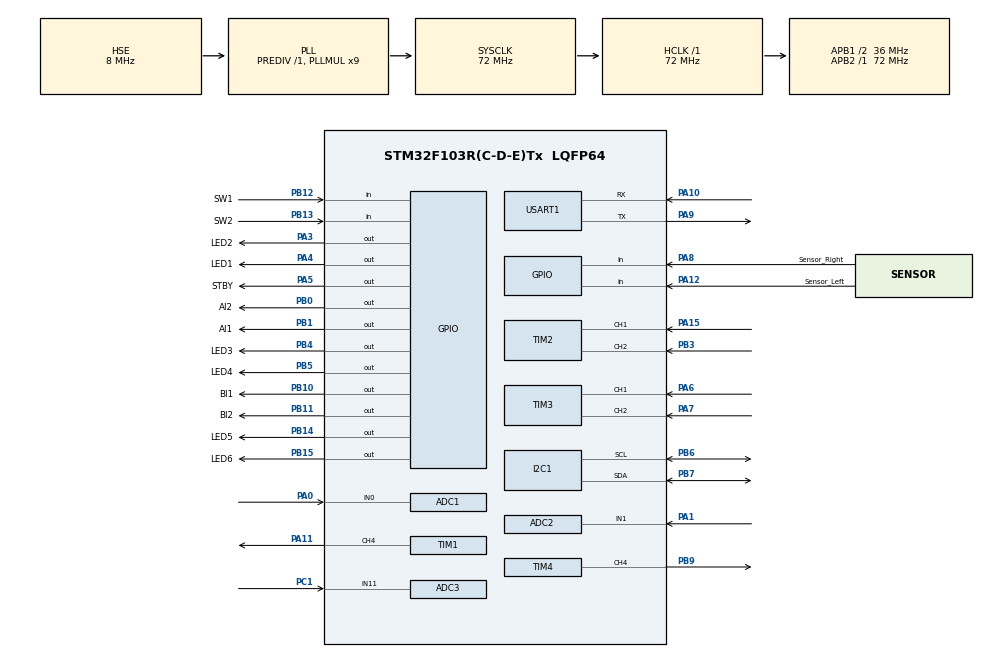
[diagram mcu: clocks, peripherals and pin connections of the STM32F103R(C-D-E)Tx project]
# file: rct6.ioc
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ADC1.Channel-0\#ChannelRegularConversion=ADC_CHANNEL_0
ADC1.NbrOfConversionFlag=1
ADC1.Rank-0\#ChannelRegularConversion=1
ADC1.SamplingTime-0\#ChannelRegularConversion=ADC_SAMPLETIME_239CYCLES_5
ADC1.master=1
ADC2.Channel-0\#ChannelRegularConversion=ADC_CHANNEL_1
ADC2.NbrOfConversionFlag=1
ADC2.Rank-0\#ChannelRegularConversion=1
ADC2.SamplingTime-0\#ChannelRegularConversion=ADC_SAMPLETIME_239CYCLES_5
ADC3.Channel-2\#ChannelRegularConversion=ADC_CHANNEL_11
ADC3.NbrOfConversionFlag=1
ADC3.Rank-2\#ChannelRegularConversion=1
ADC3.SamplingTime-2\#ChannelRegularConversion=ADC_SAMPLETIME_71CYCLES_5
Mcu.Family=STM32F1
Mcu.Name=STM32F103R(C-D-E)Tx
Mcu.Package=LQFP64
NVIC.PriorityGroup=NVIC_PRIORITYGROUP_4
NVIC.TIM2_IRQn=true\:0\:0\:false\:false\:true\:true\:true\:true
NVIC.TIM3_IRQn=true\:0\:0\:false\:false\:true\:true\:true\:true
PA0-WKUP.Signal=ADCx_IN0
PA1.Signal=ADCx_IN1
PA10.Mode=Asynchronous
PA10.Signal=USART1_RX
PA11.Signal=S_TIM1_CH4
PA12.GPIO_Label=Sensor_Left
PA12.GPIO_PuPd=GPIO_PULLUP
PA12.Signal=GPIO_Input
PA13.Mode=Serial_Wire
PA13.Signal=SYS_JTMS-SWDIO
PA14.Mode=Serial_Wire
PA14.Signal=SYS_JTCK-SWCLK
PA15.Signal=S_TIM2_CH1_ETR
PA3.GPIO_Label=LED2
PA3.Signal=GPIO_Output
PA4.GPIO_Label=LED1
PA4.Signal=GPIO_Output
PA5.GPIO_Label=STBY
PA5.Signal=GPIO_Output
PA6.Signal=S_TIM3_CH1
PA7.Signal=S_TIM3_CH2
PA8.GPIO_Label=Sensor_Right
PA8.GPIO_PuPd=GPIO_PULLUP
PA8.Signal=GPIO_Input
PA9.Mode=Asynchronous
PA9.Signal=USART1_TX
PB0.GPIO_Label=AI2
PB0.Signal=GPIO_Output
PB1.GPIO_Label=AI1
PB1.Signal=GPIO_Output
PB10.GPIO_Label=BI1
PB10.Signal=GPIO_Output
PB11.GPIO_Label=BI2
PB11.Signal=GPIO_Output
PB12.GPIO_Label=SW1
PB12.GPIO_PuPd=GPIO_PULLUP
PB12.Signal=GPIO_Input
PB13.GPIO_Label=SW2
PB13.GPIO_PuPd=GPIO_PULLUP
PB13.Signal=GPIO_Input
PB14.GPIO_Label=LED5
PB14.Signal=GPIO_Output
PB15.GPIO_Label=LED6
PB15.Signal=GPIO_Output
PB3.Signal=S_TIM2_CH2
PB4.GPIO_Label=LED3
PB4.Signal=GPIO_Output
PB5.GPIO_Label=LED4
PB5.Signal=GPIO_Output
PB6.Mode=I2C
PB6.Signal=I2C1_SCL
PB7.Mode=I2C
PB7.Signal=I2C1_SDA
PB9.Signal=S_TIM4_CH4
PC1.Signal=ADCx_IN11
PD0-OSC_IN.Mode=HSE-External-Oscillator
PD0-OSC_IN.Signal=RCC_OSC_IN
PD1-OSC_OUT.Mode=HSE-External-Oscillator
PD1-OSC_OUT.Signal=RCC_OSC_OUT
ProjectManager.HeapSize=0x200
ProjectManager.StackSize=0x400
ProjectManager.TargetToolchain=STM32CubeIDE
RCC.AHBFreq_Value=72000000
RCC.APB1CLKDivider=RCC_HCLK_DIV2
RCC.APB1Freq_Value=36000000
RCC.APB1TimFreq_Value=72000000
RCC.APB2Freq_Value=72000000
RCC.APB2TimFreq_Value=72000000
RCC.HCLKFreq_Value=72000000
RCC.PLLMUL=RCC_PLL_MUL9
RCC.PLLSourceVirtual=RCC_PLLSOURCE_HSE
RCC.SYSCLKFreq_VALUE=72000000
RCC.SYSCLKSource=RCC_SYSCLKSOURCE_PLLCLK
RCC.USBFreq_Value=72000000
SH.ADCx_IN0.0=ADC1_IN0,IN0
SH.ADCx_IN1.0=ADC2_IN1,IN1
SH.ADCx_IN11.0=ADC3_IN11,IN11
SH.S_TIM1_CH4.0=TIM1_CH4,PWM Generation4 CH4
SH.S_TIM2_CH1_ETR.0=TIM2_CH1,Encoder_Interface
SH.S_TIM2_CH2.0=TIM2_CH2,Encoder_Interface
SH.S_TIM3_CH1.0=TIM3_CH1,Encoder_Interface
SH.S_TIM3_CH2.0=TIM3_CH2,Encoder_Interface
SH.S_TIM4_CH4.0=TIM4_CH4,PWM Generation4 CH4
TIM1.Channel-PWM\ Generation4\ CH4=TIM_CHANNEL_4
TIM1.Period=10000-1
TIM1.Prescaler=18-1
TIM2.EncoderMode=TIM_ENCODERMODE_TI12
TIM2.IC1Polarity=TIM_ICPOLARITY_FALLING
TIM2.IC2Polarity=TIM_ICPOLARITY_FALLING
TIM3.EncoderMode=TIM_ENCODERMODE_TI12
TIM3.IC1Polarity=TIM_ICPOLARITY_FALLING
TIM3.IC2Polarity=TIM_ICPOLARITY_FALLING
TIM4.Channel-PWM\ Generation4\ CH4=TIM_CHANNEL_4
TIM4.Period=10000-1
TIM4.Prescaler=18-1
USART1.VirtualMode=VM_ASYNC
VP_TIM1_VS_ClockSourceINT.Mode=Internal
VP_TIM4_VS_ClockSourceINT.Mode=Internal
board=custom

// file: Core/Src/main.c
/* USER CODE BEGIN Header */
/**
  ******************************************************************************
  * @file           : main.c
  * @brief          : Main program body
  ******************************************************************************
  * @attention
  *
  * Copyright (c) 2024 STMicroelectronics.
  * All rights reserved.
  *
  * This software is licensed under terms that can be found in the LICENSE file
  * in the root directory of this software component.
  * If no LICENSE file comes with this software, it is provided AS-IS.
  *
  ******************************************************************************
  */
/* USER CODE END Header */
#include "main.h"

/* USER CODE BEGIN Includes */
#include <stdio.h>
#include "MPU6050.h"
#include "math.h"
#include "API.h"

#include "queue.h"
#include "queue_int.h"
#include "stack.h"
/* USER CODE END Includes */

ADC_HandleTypeDef hadc1;
ADC_HandleTypeDef hadc2;
ADC_HandleTypeDef hadc3;

I2C_HandleTypeDef hi2c1;

TIM_HandleTypeDef htim1;
TIM_HandleTypeDef htim2;
TIM_HandleTypeDef htim3;
TIM_HandleTypeDef htim4;

UART_HandleTypeDef huart1;

/* USER CODE BEGIN PV */
double distance_straight = 0;
double distance_left = 0;
double distance_right = 0;

char Buffer[25] = {0};

MPU6050_t MPU6050;

double roll,pitch,yaw, froll, fpitch, fyaw = 0;
uint32_t elapsedTime, currentTime, previousTime;
double dt = 0.001;

uint32_t counterTim2 = 0;
int16_t countTim2 = 0;

uint32_t counterTim3 = 0;
int16_t countTim3 = 0;

uint8_t flag = 0;

const  int rows=16;
const  int cols=16;
const int dx[] = {1, -1, 0, 0};
const int dy[] = {0, 0, -1, 1};

wall_maze maze;
Queue myQueue;
/* USER CODE END PV */

void SystemClock_Config(void);
static void MX_GPIO_Init(void);
static void MX_ADC1_Init(void);
static void MX_I2C1_Init(void);
static void MX_TIM1_Init(void);
static void MX_TIM2_Init(void);
static void MX_TIM3_Init(void);
static void MX_TIM4_Init(void);
static void MX_USART1_UART_Init(void);
static void MX_ADC2_Init(void);
static void MX_ADC3_Init(void);
/* USER CODE BEGIN PFP */
int _write(int file, char *ptr, int len)
{
    HAL_UART_Transmit(&huart1, (uint8_t*)ptr, len, HAL_MAX_DELAY);
    return len;
}

void angle(int goc){
	if(goc > 0){
		while(1){
			previousTime = HAL_GetTick();
			MPU6050_Read_Gyro(&hi2c1, &MPU6050);
			roll += (MPU6050.Gx - froll) *dt;
			pitch += (MPU6050.Gy - fpitch) *dt;
			yaw += (MPU6050.Gz - fyaw) *dt;
			currentTime = HAL_GetTick();
			elapsedTime = currentTime - previousTime;
			dt = ((double) elapsedTime) / 1000;
			if(yaw >= goc){
				roll = 0;
				pitch = 0;
				yaw = 0;
				return;
			}
		}
	}
	else{
		while(1){
			previousTime = HAL_GetTick();
			MPU6050_Read_Gyro(&hi2c1, &MPU6050);
			roll += (MPU6050.Gx - froll) *dt;
			pitch += (MPU6050.Gy - fpitch) *dt;
			yaw += (MPU6050.Gz - fyaw) *dt;
			currentTime = HAL_GetTick();
			elapsedTime = currentTime - previousTime;
			dt = ((double) elapsedTime) / 1000;
			if(yaw <= goc){
				roll = 0;
				pitch = 0;
				yaw = 0;
				return;
			}
		}
	}
}
double distanceLeft(){
	uint16_t ADC_VAL;
	double vol = 0;
	uint16_t total = 0;
  	for (uint8_t i = 0; i < 5; i++){
  	  	HAL_ADC_Start(&hadc3);
  	  	HAL_ADC_PollForConversion(&hadc3, 1000);
  	  	ADC_VAL = HAL_ADC_GetValue(&hadc3);
  	  	HAL_ADC_Stop(&hadc3);
  	    total = total + ADC_VAL;
  	}

  	vol = (total/5*3.3)/4095;
  	return 13 * pow(vol, -1) - 0.7;
}
double distanceStraight(){
	uint16_t ADC_VAL;
	double vol = 0;
	uint16_t total = 0;
  	for (uint8_t i = 0; i < 5; i++){
  	  	HAL_ADC_Start(&hadc2);
  	  	HAL_ADC_PollForConversion(&hadc2, 1000);
  	  	ADC_VAL = HAL_ADC_GetValue(&hadc2);
  	  	HAL_ADC_Stop(&hadc2);
  	    total = total + ADC_VAL;
  	}

  	vol = (total/5*3.3)/4095;
  	return 13 * pow(vol, -1)- 0.7;
}
double distanceRight(){

	uint16_t ADC_VAL;
	double vol = 0;
	uint16_t total = 0;
  	for (uint8_t i = 0; i < 5; i++){
  		HAL_ADC_Start(&hadc1);
  	  	HAL_ADC_PollForConversion(&hadc1, 1000);
  	  	ADC_VAL = HAL_ADC_GetValue(&hadc1);
  	    total = total + ADC_VAL;
  	    HAL_ADC_Stop(&hadc1);
  	}
  	vol = (total/5*3.3)/4095;
  	return 13 * pow(vol, -1) - 0.7;
}
void filter_gyro(){
	printf("Start probe filter\r\n");
	HAL_Delay(500);
	for(uint8_t x = 0; x < 10; x++){
		printf("*");
	    HAL_Delay(100);
	}
	printf("*\r\n");
	for(int x = 0; x < 1000; x++){
		MPU6050_Read_Gyro(&hi2c1, &MPU6050);
		froll += MPU6050.Gx;
		fpitch += MPU6050.Gy;
		fyaw += MPU6050.Gz;
	}
	froll = froll / 1000;
	fpitch = fpitch /1000;
	fyaw = fyaw/1000;
	printf("froll: %.2f fpitch: %.2f fyaw: %.2f\r\n",froll, fpitch, fyaw);
	printf("Prove filter done!\r\n");

}

bool isValid(int x, int y) {
    return (x >= 0 && x < rows && y >= 0 && y < cols);
}
void init_arr(int arr[ROW][COL], int row, int col) {
    for (int i = 0; i < row; i++) {
        for (int j = 0; j < col; j++) {
            arr[i][j] = -1;
        }
    }
}
void check_and_fill(int arr[ROW][COL],int row,int col,int value)
{
    if(row<0 ||col<0||row>=16||col>=16||arr[row][col]!=-1)return;
    value+=1;
    coord point={row,col,value};
    pushQueue(&myQueue,point);
    arr[row][col]=value;
}

void init_flood(int arr[ROW][COL],int row,int col)
{
    int count_=0;
    coord point={row,col,count_};
    pushQueue(&myQueue,point);
    arr[row][col]=0;
    coord point2={row+1,col,count_};
    pushQueue(&myQueue,point2);
    arr[row+1][col]=0;
    coord point3={row,col+1,count_};
    pushQueue(&myQueue,point3);
    arr[row][col+1]=0;
    coord point4={row+1,col+1,count_};
    pushQueue(&myQueue,point4);
    arr[row+1][col+1]=0;
    while (!isEmptyQueue(&myQueue)) {
        coord frontCoord = peekQueue(&myQueue);
        popQueue(&myQueue);
        check_and_fill(arr,frontCoord.row+1,frontCoord.col,frontCoord.value);
        check_and_fill(arr,frontCoord.row-1,frontCoord.col,frontCoord.value);
        check_and_fill(arr,frontCoord.row,frontCoord.col+1,frontCoord.value);
        check_and_fill(arr,frontCoord.row,frontCoord.col-1,frontCoord.value);
    }
}

void init_maze()
{
    for(int i =0;i<16;i++)
    {
        for(int j=0;j<16;j++)
        {
            maze.cells[i][j].visited=0;
            maze.cells[i][j].angle_update=90;
            maze.cells[i][j].dead=0;
            for(int k = 0 ;k<4;k++)maze.cells[i][j].walls[k]=0;
        }
    }
}

void intToStr(int num, char *str) {
    sprintf(str, "%d", num);
}
cell_info cell_direction_adjust(cell_info cell)
{
    cell_info cell_new;
    cell_new=cell;

    for(int i=0;i<4;i++)
    {
        int ind = i;

        switch(cell.angle_update)
        {
            case 90:
                break;
            case 270:
                if(i%2==0)ind+=1;
                else ind-=1;
                break;
            case 0:
                if(i==0 || i ==1)ind+=2;
                else if(i==2)ind=1;
                else ind=0;
                break;
            case 180:
                if(i==2 || i ==3)ind-=2;
                else if(i==0)ind=3;
                else ind=2;
                break;
        }
        cell_new.walls[i]=cell.walls[ind];
    }
    return cell_new;
}

cell_info update_walls(int angle_now,int row,int col)
{
    cell_info new_cell;
    new_cell.angle_update=angle_now;
    double straight = distanceStraight();
    bool boolfront = 0;
    bool boolleft = 0;
    bool boolright = 0;

	if(HAL_GPIO_ReadPin(Sensor_Left_GPIO_Port, Sensor_Left_Pin) == 0){
		boolleft = 1;

	}
	if(HAL_GPIO_ReadPin(Sensor_Right_GPIO_Port, Sensor_Right_Pin) == 0){
		boolright = 1;
	}

    if(straight < 10){
    	boolfront = 1;
    }

    new_cell.walls[UP]=boolfront;
    new_cell.walls[DOWN]=0;
    new_cell.walls[LEFT]=boolleft;
    new_cell.walls[RIGHT]=boolright;
    new_cell.dead=0;
    new_cell.visited=1;
    maze.cells[row][col]=cell_direction_adjust(new_cell);
    if(new_cell.walls[UP]==1&&new_cell.walls[LEFT]==1&&new_cell.walls[RIGHT]==1&&row!=0&&col!=0)
    {
        maze.cells[row][col].dead=1;
    }
    for(int i=0;i<4;i++)
    {
        int newRow=row+dy[i];
        int newCol=col+dx[i];
        if(isValid(newRow,newCol))
        {
            if(i==UP)maze.cells[newRow][newCol].walls[DOWN]=maze.cells[row][col].walls[UP];
            else if(i==LEFT)maze.cells[newRow][newCol].walls[RIGHT]=maze.cells[row][col].walls[LEFT];
            else if(i==RIGHT)maze.cells[newRow][newCol].walls[LEFT]=maze.cells[row][col].walls[RIGHT];
        }
    }
    return new_cell;
}
void go_to_cell(int *angle_now,int dir)
{
    switch(dir)
            {
                case -1:
                    break;
                case UP:
                    API_moveForward();
                    break;
                case DOWN:
                    *angle_now-=180;
                    API_turnRight();
                    API_turnRight();
                    API_moveForward();
                    break;
                case LEFT:
                    *angle_now+=90;
                    API_turnLeft();
                    API_moveForward();
                    break;
                case RIGHT:
                    *angle_now-=90;
                    API_turnRight();
                    API_moveForward();
                    break;
                default:
                    break;
            }
            *angle_now = *angle_now % 360;
            // �?ảm bảo góc không bị âm
            if (*angle_now < 0) {
                *angle_now += 360;
            }
}
bool check_wall_angle(cell_info cell,int *dir)
{
    switch(cell.angle_update)
    {
        case 90:
            break;
        case 270:
            if(*dir%2==0)*dir+=1;
            else *dir-=1;
            break;
        case 0:
            if(*dir==0 || *dir ==1)*dir+=2;
            else if(*dir==2)*dir=1;
            else *dir=0;
            break;
        case 180:
             if(*dir==2 || *dir ==3)*dir-=2;
            else if(*dir==0)*dir=3;
            else *dir=2;
            break;
    }
    return cell.walls[*dir];
}
coord get_min_neighbour(cell_info cell_wall,coord cur, int (*arr)[ROW][COL],bool change_)
{
    int min_neightbor=255;
    coord next_step;
    next_step.value=-1;
    int ind;
    for (int dir = 0; dir < 4; ++dir) {
        int newRow = cur.row + dy[dir]; // 0 0 -1 1
        int newCol = cur.col + dx[dir]; //1 -1 0 0
        ind=dir;
        bool check_=cell_wall.walls[dir];
        if(change_)check_=check_wall_angle(cell_wall,&ind);

        if(isValid(newRow,newCol) && !check_)
        {
            if((*arr)[newRow][newCol]<=min_neightbor)
            {
                min_neightbor=(*arr)[newRow][newCol];
                next_step.row=newRow;
                next_step.col=newCol;
                next_step.value=ind;
            }
        }
    }
    return next_step;
}
void flood(Stack *stack_flood,int (*arr)[ROW][COL])
{
    // log_out("flood");
    coord cur_stack;
    coord next_step;

    while(!isEmptyStack(stack_flood))
    {

        cur_stack=peekStack(stack_flood);
        popStack(stack_flood);
        int min_neightbor=255;
        bool check_;

        next_step=get_min_neighbour(maze.cells[cur_stack.row][cur_stack.col],cur_stack,arr,0);

        min_neightbor=(*arr)[next_step.row][next_step.col];
        if((*arr)[cur_stack.row][cur_stack.col]-1 != min_neightbor )
        {
            for(int i =0 ;i<4;i++)
            {
                coord cur_add;
                cur_add.row= cur_stack.row + dy[i]; // 0 0 -1 1
                cur_add.col= cur_stack.col + dx[i]; //1 -1 0 0
                check_=maze.cells[cur_stack.row][cur_stack.col].walls[i];
                if(isValid(cur_add.row,cur_add.col) &&(*arr)[cur_add.row][cur_add.col]!=0&&!check_)
                {
                    pushStack(stack_flood,cur_add);
                }
            }
            if((*arr)[cur_stack.row][cur_stack.col]!=0)(*arr)[cur_stack.row][cur_stack.col]=min_neightbor+1;
        }
        int stack_size=sizeStack(stack_flood);
        if(stack_size>=35){
            for(int i=0;i<stack_size;i++)
            {
                popStack(stack_flood);
            }
            return;
        }
    }
}
coord floodfill(coord start,coord dest,int (*arr)[ROW][COL],int *angle_now)
{
    Queue path_queue;
    initializeQueue(&path_queue);

    pushQueue(&path_queue,start);
    coord cur=start;
    cell_info new_cell;

    Stack stack_flood;
    initializeStack(&stack_flood);

    pushStack(&stack_flood,start);

    int path_distance_value_find=0;
    // int save_row,save_col;
    coord next_step;

    while(1)
    {
        if(!isEmptyQueue(&path_queue)) // dua ra quyet dinh va go
        {
            cur = peekQueue(&path_queue);

            new_cell=update_walls(*angle_now,cur.row,cur.col);

            if((*arr)[cur.row][cur.col]==(*arr)[dest.row][dest.col]){
                break;
            }
            flood(&stack_flood,arr);
            popQueue(&path_queue);
            next_step=get_min_neighbour(new_cell,cur,arr,1);
            pushQueue(&path_queue,next_step);
            pushStack(&stack_flood,next_step);
            go_to_cell(angle_now,next_step.value);
            path_distance_value_find++;
        }
        else{
            break;
        }
    }

    while(!isEmptyQueue(&path_queue)) popQueue(&path_queue);

    coord p_return={next_step.row,next_step.col,0};
    return p_return;
}
void init_flood_start(int (*arr)[ROW][COL],int row_,int col_,int back_)
{
    int count_=0;
    for(int i=0;i<16;i++)
    {
        for(int j = 0 ;j<16;j++)
        {
            (*arr)[i][j]=-1;
            if(back_==2&&maze.cells[i][j].visited==false){
                (*arr)[i][j]=255;
                maze.cells[i][j].dead=true;
            }
        }
    }
    if(back_!=1)
    {
        coord point2={row_+1,col_,count_};
        pushQueue(&myQueue,point2);
        (*arr)[row_+1][col_]=0;
        coord point3={row_,col_+1,count_};
        pushQueue(&myQueue,point3);
        (*arr)[row_][col_+1]=0;
        coord point4={row_+1,col_+1,count_};
        pushQueue(&myQueue,point4);
        (*arr)[row_+1][col_+1]=0;
    }
    coord point={row_,col_,count_};
    pushQueue(&myQueue,point);
    (*arr)[row_][col_]=0;
    while(!isEmptyQueue(&myQueue))
    {
        coord frontCoord = peekQueue(&myQueue);
        popQueue(&myQueue);
          for (int i = 0; i < 4; ++i) {
                int newRow = frontCoord.row + dy[i]; // 0 0 -1 1
                int newCol = frontCoord.col + dx[i]; //1 -1 0 0
                bool check_=maze.cells[frontCoord.row][frontCoord.col].walls[i];
                if(!check_)check_and_fill(*arr,newRow,newCol,frontCoord.value);
          }
          if(sizeQueue(&myQueue)>120){
            break;
          }
    }
}

void shorted_path_go(int (*arr)[ROW][COL],int angle_now,coord start,coord dest)
{
    QueueInt next_dir_path;
    initializeQueueInt(&next_dir_path);

    int save_row,save_col;
    coord cur=start;
    for(int i=0;i<(*arr)[start.row][start.col];i++)
    {
            int next_dir=-1;
            int newRow;
            int newCol;
            for (int dir = 0; dir < 4; ++dir) {
                newRow = cur.row + dy[dir]; // 0 0 -1 1
                newCol = cur.col + dx[dir]; //1 -1 0 0
                bool check_=maze.cells[cur.row][cur.col].walls[dir];
                if(isValid(newRow,newCol) && !check_)
                {
                    if((*arr)[newRow][newCol]<(*arr)[cur.row][cur.col])
                    {
                        next_dir=dir;
                        save_row=newRow;
                        save_col=newCol;
                    }
                }
            }
            if(next_dir!=-1)
            {
                cur.row=save_row;
                cur.col=save_col;
                pushQueueInt(&next_dir_path,next_dir);
                char value[20];
                intToStr((*arr)[save_row][save_col], value);

            }
    }
}

void HAL_TIM_IC_CaptureCallback(TIM_HandleTypeDef *htim)
{
    if (htim->Instance == TIM2)
    {
        counterTim2 = __HAL_TIM_GET_COUNTER(htim);
        countTim2 = (int16_t)counterTim2;
    }
    else if (htim->Instance == TIM3)
    {
        counterTim3 = __HAL_TIM_GET_COUNTER(htim);
        countTim3 = (int16_t)counterTim3;
    }
}

uint16_t ADC_VALUE[3];
/* USER CODE END PFP */

int main(void)
{

  /* MCU Configuration--------------------------------------------------------*/

  /* Reset of all peripherals, Initializes the Flash interface and the Systick. */
  HAL_Init();

  /* Configure the system clock */
  SystemClock_Config();

  /* Initialize all configured peripherals */
  MX_GPIO_Init();
  MX_ADC1_Init();
  MX_I2C1_Init();
  MX_TIM1_Init();
  MX_TIM2_Init();
  MX_TIM3_Init();
  MX_TIM4_Init();
  MX_USART1_UART_Init();
  MX_ADC2_Init();
  MX_ADC3_Init();
  /* USER CODE BEGIN 2 */
  HAL_TIM_Encoder_Start_IT(&htim2, TIM_CHANNEL_ALL);
  HAL_TIM_Encoder_Start_IT(&htim3, TIM_CHANNEL_ALL);

  HAL_TIM_PWM_Start(&htim1, TIM_CHANNEL_4);
  HAL_TIM_PWM_Start(&htim4, TIM_CHANNEL_4);

//  while (1)
//  {
//		HAL_ADC_Start(&hadc1);
//	  	HAL_ADC_PollForConversion(&hadc1, 1000);
//	  	ADC_VALUE[0] = HAL_ADC_GetValue(&hadc1);
//	    HAL_ADC_Stop(&hadc1);
//
//		HAL_ADC_Start(&hadc2);
//	  	HAL_ADC_PollForConversion(&hadc2, 1000);
//	  	ADC_VALUE[1] = HAL_ADC_GetValue(&hadc2);
//	    HAL_ADC_Stop(&hadc2);
//
//		HAL_ADC_Start(&hadc3);
//	  	HAL_ADC_PollForConversion(&hadc3, 1000);
//	  	ADC_VALUE[2] = HAL_ADC_GetValue(&hadc3);
//	    HAL_ADC_Stop(&hadc3);
//  }

//    while(1){
//  	  distance_straight = distanceStraight();
//  	  distance_left = distanceLeft();
//  	  distance_right = distanceRight();
//    }

//  while(1){
//	  distance_straight = distanceStraight();
//	  if(HAL_GPIO_ReadPin(Sensor_Left_GPIO_Port, Sensor_Left_Pin) == 0){
//			HAL_GPIO_TogglePin(LED5_GPIO_Port, LED5_Pin);
//
//	  }
//	  if(HAL_GPIO_ReadPin(Sensor_Right_GPIO_Port, Sensor_Right_Pin) == 0){
//		  HAL_GPIO_TogglePin(LED3_GPIO_Port, LED3_Pin);
//	  }
//
//  }
//  while(1){
//	  	if(HAL_GPIO_ReadPin(Sensor_Left_GPIO_Port, Sensor_Left_Pin) == 0){
//			timer_Left(10);
//			HAL_GPIO_TogglePin(LED5_GPIO_Port, LED5_Pin);
//			HAL_GPIO_WritePin(LED1_GPIO_Port, LED1_Pin, RESET);
//			HAL_GPIO_WritePin(LED3_GPIO_Port, LED3_Pin, RESET);
//		}
//		else if(HAL_GPIO_ReadPin(Sensor_Right_GPIO_Port, Sensor_Right_Pin) == 0){
//			timer_Right(10);
//			HAL_GPIO_TogglePin(LED3_GPIO_Port, LED3_Pin);
//			HAL_GPIO_WritePin(LED5_GPIO_Port, LED5_Pin, RESET);
//			HAL_GPIO_WritePin(LED1_GPIO_Port, LED1_Pin, RESET);
//		}
//  }

//  API_moveForward();
//	forwardGPIO();
//	__HAL_TIM_SET_COMPARE(&htim1, TIM_CHANNEL_4, 10000); //left motor
//	__HAL_TIM_SET_COMPARE(&htim4, TIM_CHANNEL_4, 10500); //right motor
//	HAL_Delay(1000);
//	stop();
//	  while(1);

//  API_moveForward();
//  while(1);

  while (MPU6050_Init(&hi2c1) == 1);
  filter_gyro();
//  while(1){
//		previousTime = HAL_GetTick();
//		MPU6050_Read_Gyro(&hi2c1, &MPU6050);
//		roll += (MPU6050.Gx - froll) *dt;
//		pitch += (MPU6050.Gy - fpitch) *dt;
//		yaw += (MPU6050.Gz - fyaw) *dt;
//		currentTime = HAL_GetTick();
//		elapsedTime = currentTime - previousTime;
//		dt = ((double) elapsedTime) / 1000;
//  }

  initializeQueue(&myQueue);
  int arr[ROW][COL];

  init_arr(arr,ROW,COL);
  init_flood(arr,7,7);
  init_maze();

  /* USER CODE END 2 */

  /* Infinite loop */
  /* USER CODE BEGIN WHILE */

  coord start={0,0,arr[0][0]};
  coord dest={7,7,arr[7][7]};
  int angle_now=90;
  coord new_coord;
  new_coord = floodfill(start,dest,&arr,&angle_now);

  init_flood_start(&arr,0,0,1);
  new_coord=floodfill(new_coord,start,&arr,&angle_now);
  init_flood_start(&arr,7,7,2);
  shorted_path_go(&arr,angle_now,new_coord,dest);
  floodfill(start,dest,&arr,&angle_now);

  /* USER CODE END 2 */

  /* Infinite loop */
  /* USER CODE BEGIN WHILE */
  while (1)
  {
    /* USER CODE END WHILE */

  }
}

void SystemClock_Config(void)
{
  RCC_OscInitTypeDef RCC_OscInitStruct = {0};
  RCC_ClkInitTypeDef RCC_ClkInitStruct = {0};
  RCC_PeriphCLKInitTypeDef PeriphClkInit = {0};

  /** Initializes the RCC Oscillators according to the specified parameters
  * in the RCC_OscInitTypeDef structure.
  */
  RCC_OscInitStruct.OscillatorType = RCC_OSCILLATORTYPE_HSE;
  RCC_OscInitStruct.HSEState = RCC_HSE_ON;
  RCC_OscInitStruct.HSEPredivValue = RCC_HSE_PREDIV_DIV1;
  RCC_OscInitStruct.HSIState = RCC_HSI_ON;
  RCC_OscInitStruct.PLL.PLLState = RCC_PLL_ON;
  RCC_OscInitStruct.PLL.PLLSource = RCC_PLLSOURCE_HSE;
  RCC_OscInitStruct.PLL.PLLMUL = RCC_PLL_MUL9;
  if (HAL_RCC_OscConfig(&RCC_OscInitStruct) != HAL_OK)
  {
    Error_Handler();
  }

  /** Initializes the CPU, AHB and APB buses clocks
  */
  RCC_ClkInitStruct.ClockType = RCC_CLOCKTYPE_HCLK|RCC_CLOCKTYPE_SYSCLK
                              |RCC_CLOCKTYPE_PCLK1|RCC_CLOCKTYPE_PCLK2;
  RCC_ClkInitStruct.SYSCLKSource = RCC_SYSCLKSOURCE_PLLCLK;
  RCC_ClkInitStruct.AHBCLKDivider = RCC_SYSCLK_DIV1;
  RCC_ClkInitStruct.APB1CLKDivider = RCC_HCLK_DIV2;
  RCC_ClkInitStruct.APB2CLKDivider = RCC_HCLK_DIV1;

  if (HAL_RCC_ClockConfig(&RCC_ClkInitStruct, FLASH_LATENCY_2) != HAL_OK)
  {
    Error_Handler();
  }
  PeriphClkInit.PeriphClockSelection = RCC_PERIPHCLK_ADC;
  PeriphClkInit.AdcClockSelection = RCC_ADCPCLK2_DIV2;
  if (HAL_RCCEx_PeriphCLKConfig(&PeriphClkInit) != HAL_OK)
  {
    Error_Handler();
  }
}

static void MX_ADC1_Init(void)
{

  ADC_ChannelConfTypeDef sConfig = {0};

  /** Common config
  */
  hadc1.Instance = ADC1;
  hadc1.Init.ScanConvMode = ADC_SCAN_DISABLE;
  hadc1.Init.ContinuousConvMode = DISABLE;
  hadc1.Init.DiscontinuousConvMode = DISABLE;
  hadc1.Init.ExternalTrigConv = ADC_SOFTWARE_START;
  hadc1.Init.DataAlign = ADC_DATAALIGN_RIGHT;
  hadc1.Init.NbrOfConversion = 1;
  if (HAL_ADC_Init(&hadc1) != HAL_OK)
  {
    Error_Handler();
  }

  /** Configure Regular Channel
  */
  sConfig.Channel = ADC_CHANNEL_0;
  sConfig.Rank = ADC_REGULAR_RANK_1;
  sConfig.SamplingTime = ADC_SAMPLETIME_239CYCLES_5;
  if (HAL_ADC_ConfigChannel(&hadc1, &sConfig) != HAL_OK)
  {
    Error_Handler();
  }

}

static void MX_ADC2_Init(void)
{

  ADC_ChannelConfTypeDef sConfig = {0};

  /** Common config
  */
  hadc2.Instance = ADC2;
  hadc2.Init.ScanConvMode = ADC_SCAN_DISABLE;
  hadc2.Init.ContinuousConvMode = DISABLE;
  hadc2.Init.DiscontinuousConvMode = DISABLE;
  hadc2.Init.ExternalTrigConv = ADC_SOFTWARE_START;
  hadc2.Init.DataAlign = ADC_DATAALIGN_RIGHT;
  hadc2.Init.NbrOfConversion = 1;
  if (HAL_ADC_Init(&hadc2) != HAL_OK)
  {
    Error_Handler();
  }

  /** Configure Regular Channel
  */
  sConfig.Channel = ADC_CHANNEL_1;
  sConfig.Rank = ADC_REGULAR_RANK_1;
  sConfig.SamplingTime = ADC_SAMPLETIME_239CYCLES_5;
  if (HAL_ADC_ConfigChannel(&hadc2, &sConfig) != HAL_OK)
  {
    Error_Handler();
  }

}

static void MX_ADC3_Init(void)
{

  ADC_ChannelConfTypeDef sConfig = {0};

  /** Common config
  */
  hadc3.Instance = ADC3;
  hadc3.Init.ScanConvMode = ADC_SCAN_DISABLE;
  hadc3.Init.ContinuousConvMode = DISABLE;
  hadc3.Init.DiscontinuousConvMode = DISABLE;
  hadc3.Init.ExternalTrigConv = ADC_SOFTWARE_START;
  hadc3.Init.DataAlign = ADC_DATAALIGN_RIGHT;
  hadc3.Init.NbrOfConversion = 1;
  if (HAL_ADC_Init(&hadc3) != HAL_OK)
  {
    Error_Handler();
  }

  /** Configure Regular Channel
  */
  sConfig.Channel = ADC_CHANNEL_11;
  sConfig.Rank = ADC_REGULAR_RANK_1;
  sConfig.SamplingTime = ADC_SAMPLETIME_71CYCLES_5;
  if (HAL_ADC_ConfigChannel(&hadc3, &sConfig) != HAL_OK)
  {
    Error_Handler();
  }

}

static void MX_I2C1_Init(void)
{

  hi2c1.Instance = I2C1;
  hi2c1.Init.ClockSpeed = 100000;
  hi2c1.Init.DutyCycle = I2C_DUTYCYCLE_2;
  hi2c1.Init.OwnAddress1 = 0;
  hi2c1.Init.AddressingMode = I2C_ADDRESSINGMODE_7BIT;
  hi2c1.Init.DualAddressMode = I2C_DUALADDRESS_DISABLE;
  hi2c1.Init.OwnAddress2 = 0;
  hi2c1.Init.GeneralCallMode = I2C_GENERALCALL_DISABLE;
  hi2c1.Init.NoStretchMode = I2C_NOSTRETCH_DISABLE;
  if (HAL_I2C_Init(&hi2c1) != HAL_OK)
  {
    Error_Handler();
  }

}

static void MX_TIM1_Init(void)
{

  TIM_ClockConfigTypeDef sClockSourceConfig = {0};
  TIM_MasterConfigTypeDef sMasterConfig = {0};
  TIM_OC_InitTypeDef sConfigOC = {0};
  TIM_BreakDeadTimeConfigTypeDef sBreakDeadTimeConfig = {0};

  htim1.Instance = TIM1;
  htim1.Init.Prescaler = 18-1;
  htim1.Init.CounterMode = TIM_COUNTERMODE_UP;
  htim1.Init.Period = 10000-1;
  htim1.Init.ClockDivision = TIM_CLOCKDIVISION_DIV1;
  htim1.Init.RepetitionCounter = 0;
  htim1.Init.AutoReloadPreload = TIM_AUTORELOAD_PRELOAD_DISABLE;
  if (HAL_TIM_Base_Init(&htim1) != HAL_OK)
  {
    Error_Handler();
  }
  sClockSourceConfig.ClockSource = TIM_CLOCKSOURCE_INTERNAL;
  if (HAL_TIM_ConfigClockSource(&htim1, &sClockSourceConfig) != HAL_OK)
  {
    Error_Handler();
  }
  if (HAL_TIM_PWM_Init(&htim1) != HAL_OK)
  {
    Error_Handler();
  }
  sMasterConfig.MasterOutputTrigger = TIM_TRGO_RESET;
  sMasterConfig.MasterSlaveMode = TIM_MASTERSLAVEMODE_DISABLE;
  if (HAL_TIMEx_MasterConfigSynchronization(&htim1, &sMasterConfig) != HAL_OK)
  {
    Error_Handler();
  }
  sConfigOC.OCMode = TIM_OCMODE_PWM1;
  sConfigOC.Pulse = 0;
  sConfigOC.OCPolarity = TIM_OCPOLARITY_HIGH;
  sConfigOC.OCFastMode = TIM_OCFAST_DISABLE;
  sConfigOC.OCIdleState = TIM_OCIDLESTATE_RESET;
  sConfigOC.OCNIdleState = TIM_OCNIDLESTATE_RESET;
  if (HAL_TIM_PWM_ConfigChannel(&htim1, &sConfigOC, TIM_CHANNEL_4) != HAL_OK)
  {
    Error_Handler();
  }
  sBreakDeadTimeConfig.OffStateRunMode = TIM_OSSR_DISABLE;
  sBreakDeadTimeConfig.OffStateIDLEMode = TIM_OSSI_DISABLE;
  sBreakDeadTimeConfig.LockLevel = TIM_LOCKLEVEL_OFF;
  sBreakDeadTimeConfig.DeadTime = 0;
  sBreakDeadTimeConfig.BreakState = TIM_BREAK_DISABLE;
  sBreakDeadTimeConfig.BreakPolarity = TIM_BREAKPOLARITY_HIGH;
  sBreakDeadTimeConfig.AutomaticOutput = TIM_AUTOMATICOUTPUT_DISABLE;
  if (HAL_TIMEx_ConfigBreakDeadTime(&htim1, &sBreakDeadTimeConfig) != HAL_OK)
  {
    Error_Handler();
  }
  HAL_TIM_MspPostInit(&htim1);

}

static void MX_TIM2_Init(void)
{

  TIM_Encoder_InitTypeDef sConfig = {0};
  TIM_MasterConfigTypeDef sMasterConfig = {0};

  htim2.Instance = TIM2;
  htim2.Init.Prescaler = 0;
  htim2.Init.CounterMode = TIM_COUNTERMODE_UP;
  htim2.Init.Period = 65535;
  htim2.Init.ClockDivision = TIM_CLOCKDIVISION_DIV1;
  htim2.Init.AutoReloadPreload = TIM_AUTORELOAD_PRELOAD_DISABLE;
  sConfig.EncoderMode = TIM_ENCODERMODE_TI12;
  sConfig.IC1Polarity = TIM_ICPOLARITY_FALLING;
  sConfig.IC1Selection = TIM_ICSELECTION_DIRECTTI;
  sConfig.IC1Prescaler = TIM_ICPSC_DIV1;
  sConfig.IC1Filter = 0;
  sConfig.IC2Polarity = TIM_ICPOLARITY_FALLING;
  sConfig.IC2Selection = TIM_ICSELECTION_DIRECTTI;
  sConfig.IC2Prescaler = TIM_ICPSC_DIV1;
  sConfig.IC2Filter = 0;
  if (HAL_TIM_Encoder_Init(&htim2, &sConfig) != HAL_OK)
  {
    Error_Handler();
  }
  sMasterConfig.MasterOutputTrigger = TIM_TRGO_RESET;
  sMasterConfig.MasterSlaveMode = TIM_MASTERSLAVEMODE_DISABLE;
  if (HAL_TIMEx_MasterConfigSynchronization(&htim2, &sMasterConfig) != HAL_OK)
  {
    Error_Handler();
  }

}

static void MX_TIM3_Init(void)
{

  TIM_Encoder_InitTypeDef sConfig = {0};
  TIM_MasterConfigTypeDef sMasterConfig = {0};

  htim3.Instance = TIM3;
  htim3.Init.Prescaler = 0;
  htim3.Init.CounterMode = TIM_COUNTERMODE_UP;
  htim3.Init.Period = 65535;
  htim3.Init.ClockDivision = TIM_CLOCKDIVISION_DIV1;
  htim3.Init.AutoReloadPreload = TIM_AUTORELOAD_PRELOAD_DISABLE;
  sConfig.EncoderMode = TIM_ENCODERMODE_TI12;
  sConfig.IC1Polarity = TIM_ICPOLARITY_FALLING;
  sConfig.IC1Selection = TIM_ICSELECTION_DIRECTTI;
  sConfig.IC1Prescaler = TIM_ICPSC_DIV1;
  sConfig.IC1Filter = 0;
  sConfig.IC2Polarity = TIM_ICPOLARITY_FALLING;
  sConfig.IC2Selection = TIM_ICSELECTION_DIRECTTI;
  sConfig.IC2Prescaler = TIM_ICPSC_DIV1;
  sConfig.IC2Filter = 0;
  if (HAL_TIM_Encoder_Init(&htim3, &sConfig) != HAL_OK)
  {
    Error_Handler();
  }
  sMasterConfig.MasterOutputTrigger = TIM_TRGO_RESET;
  sMasterConfig.MasterSlaveMode = TIM_MASTERSLAVEMODE_DISABLE;
  if (HAL_TIMEx_MasterConfigSynchronization(&htim3, &sMasterConfig) != HAL_OK)
  {
    Error_Handler();
  }

}

static void MX_TIM4_Init(void)
{

  TIM_ClockConfigTypeDef sClockSourceConfig = {0};
  TIM_MasterConfigTypeDef sMasterConfig = {0};
  TIM_OC_InitTypeDef sConfigOC = {0};

  htim4.Instance = TIM4;
  htim4.Init.Prescaler = 18-1;
  htim4.Init.CounterMode = TIM_COUNTERMODE_UP;
  htim4.Init.Period = 10000-1;
  htim4.Init.ClockDivision = TIM_CLOCKDIVISION_DIV1;
  htim4.Init.AutoReloadPreload = TIM_AUTORELOAD_PRELOAD_DISABLE;
  if (HAL_TIM_Base_Init(&htim4) != HAL_OK)
  {
    Error_Handler();
  }
  sClockSourceConfig.ClockSource = TIM_CLOCKSOURCE_INTERNAL;
  if (HAL_TIM_ConfigClockSource(&htim4, &sClockSourceConfig) != HAL_OK)
  {
    Error_Handler();
  }
  if (HAL_TIM_PWM_Init(&htim4) != HAL_OK)
  {
    Error_Handler();
  }
  sMasterConfig.MasterOutputTrigger = TIM_TRGO_RESET;
  sMasterConfig.MasterSlaveMode = TIM_MASTERSLAVEMODE_DISABLE;
  if (HAL_TIMEx_MasterConfigSynchronization(&htim4, &sMasterConfig) != HAL_OK)
  {
    Error_Handler();
  }
  sConfigOC.OCMode = TIM_OCMODE_PWM1;
  sConfigOC.Pulse = 0;
  sConfigOC.OCPolarity = TIM_OCPOLARITY_HIGH;
  sConfigOC.OCFastMode = TIM_OCFAST_DISABLE;
  if (HAL_TIM_PWM_ConfigChannel(&htim4, &sConfigOC, TIM_CHANNEL_4) != HAL_OK)
  {
    Error_Handler();
  }
  HAL_TIM_MspPostInit(&htim4);

}

static void MX_USART1_UART_Init(void)
{

  huart1.Instance = USART1;
  huart1.Init.BaudRate = 115200;
  huart1.Init.WordLength = UART_WORDLENGTH_8B;
  huart1.Init.StopBits = UART_STOPBITS_1;
  huart1.Init.Parity = UART_PARITY_NONE;
  huart1.Init.Mode = UART_MODE_TX_RX;
  huart1.Init.HwFlowCtl = UART_HWCONTROL_NONE;
  huart1.Init.OverSampling = UART_OVERSAMPLING_16;
  if (HAL_UART_Init(&huart1) != HAL_OK)
  {
    Error_Handler();
  }

}

static void MX_GPIO_Init(void)
{
  GPIO_InitTypeDef GPIO_InitStruct = {0};

  /* GPIO Ports Clock Enable */
  __HAL_RCC_GPIOD_CLK_ENABLE();
  __HAL_RCC_GPIOC_CLK_ENABLE();
  __HAL_RCC_GPIOA_CLK_ENABLE();
  __HAL_RCC_GPIOB_CLK_ENABLE();

  /*Configure GPIO pin Output Level */
  HAL_GPIO_WritePin(GPIOA, LED2_Pin|LED1_Pin|STBY_Pin, GPIO_PIN_RESET);

  /*Configure GPIO pin Output Level */
  HAL_GPIO_WritePin(GPIOB, AI2_Pin|AI1_Pin|BI1_Pin|BI2_Pin
                          |LED5_Pin|LED6_Pin|LED3_Pin|LED4_Pin, GPIO_PIN_RESET);

  /*Configure GPIO pins : LED2_Pin LED1_Pin STBY_Pin */
  GPIO_InitStruct.Pin = LED2_Pin|LED1_Pin|STBY_Pin;
  GPIO_InitStruct.Mode = GPIO_MODE_OUTPUT_PP;
  GPIO_InitStruct.Pull = GPIO_NOPULL;
  GPIO_InitStruct.Speed = GPIO_SPEED_FREQ_LOW;
  HAL_GPIO_Init(GPIOA, &GPIO_InitStruct);

  /*Configure GPIO pins : AI2_Pin AI1_Pin BI1_Pin BI2_Pin
                           LED5_Pin LED6_Pin LED3_Pin LED4_Pin */
  GPIO_InitStruct.Pin = AI2_Pin|AI1_Pin|BI1_Pin|BI2_Pin
                          |LED5_Pin|LED6_Pin|LED3_Pin|LED4_Pin;
  GPIO_InitStruct.Mode = GPIO_MODE_OUTPUT_PP;
  GPIO_InitStruct.Pull = GPIO_NOPULL;
  GPIO_InitStruct.Speed = GPIO_SPEED_FREQ_LOW;
  HAL_GPIO_Init(GPIOB, &GPIO_InitStruct);

  /*Configure GPIO pins : SW1_Pin SW2_Pin */
  GPIO_InitStruct.Pin = SW1_Pin|SW2_Pin;
  GPIO_InitStruct.Mode = GPIO_MODE_INPUT;
  GPIO_InitStruct.Pull = GPIO_PULLUP;
  HAL_GPIO_Init(GPIOB, &GPIO_InitStruct);

  /*Configure GPIO pins : Sensor_Right_Pin Sensor_Left_Pin */
  GPIO_InitStruct.Pin = Sensor_Right_Pin|Sensor_Left_Pin;
  GPIO_InitStruct.Mode = GPIO_MODE_INPUT;
  GPIO_InitStruct.Pull = GPIO_PULLUP;
  HAL_GPIO_Init(GPIOA, &GPIO_InitStruct);

}

void Error_Handler(void)
{
  __disable_irq();
  while (1)
  {
  }
}
